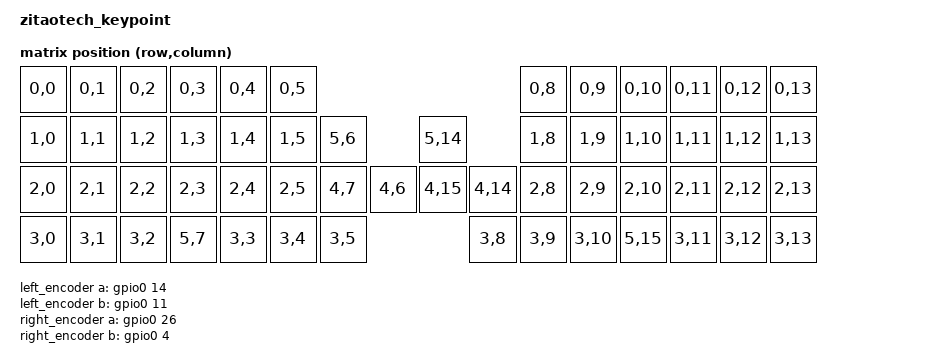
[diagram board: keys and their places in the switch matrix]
/*
 * Copyright (c) 2023 ZitaoTech
 *
 * SPDX-License-Identifier: MIT
 */

/dts-v1/;
#include <nordic/nrf52840_qiaa.dtsi>

#include <dt-bindings/led/led.h>
#include <dt-bindings/zmk/matrix_transform.h>
#include "zitaotech_keypoint-layouts.dtsi"


/ {
    model = "zitaotech_keypoint";
    compatible = "ZitaoTech,zitaotech-keypoint";

    chosen {
        zephyr,code-partition = &code_partition;
        zephyr,sram = &sram0;
        zephyr,flash = &flash0;
        zephyr,console = &cdc_acm_uart;
        zmk,kscan = &kscan0;
        zmk,physical-layouts = &zitaotech_keypoint_layout;
        zmk,studio-rpc-uart = &cdc_acm_uart; // ✅ 
    };
    default_transform: keymap_transform_0 {
        compatible = "zmk,matrix-transform";
        columns = <16>;
        rows = <6>;
        map = <
RC(0,0)  RC(0,1) RC(0,2) RC(0,3) RC(0,4) RC(0,5)                                         RC(0,8)  RC(0,9)  RC(0,10) RC(0,11) RC(0,12) RC(0,13)
RC(1,0)  RC(1,1) RC(1,2) RC(1,3) RC(1,4) RC(1,5)  RC(5,6)             RC(5,14)           RC(1,8)  RC(1,9)  RC(1,10) RC(1,11) RC(1,12) RC(1,13)
RC(2,0)  RC(2,1) RC(2,2) RC(2,3) RC(2,4) RC(2,5)  RC(4,7)  RC(4,6)    RC(4,15) RC(4,14)  RC(2,8)  RC(2,9)  RC(2,10) RC(2,11) RC(2,12) RC(2,13)
RC(3,0)  RC(3,1) RC(3,2) RC(5,7) RC(3,3) RC(3,4)  RC(3,5)                      RC(3,8)   RC(3,9)  RC(3,10) RC(5,15) RC(3,11) RC(3,12) RC(3,13)
        >;
    };

left_encoder: encoder_left {
        compatible = "alps,ec11";
        a-gpios = <&gpio0 14 (GPIO_ACTIVE_HIGH | GPIO_OPEN_DRAIN)>;
        b-gpios = <&gpio0 11 (GPIO_ACTIVE_HIGH | GPIO_OPEN_DRAIN)>;
        resolution = <4>;
        steps = <20>;
        status = "disabled";
     };

right_encoder: encoder_right {
        compatible = "alps,ec11";
        a-gpios = <&gpio0 26 (GPIO_ACTIVE_HIGH | GPIO_OPEN_DRAIN)>;
        b-gpios = <&gpio0 4 (GPIO_ACTIVE_HIGH | GPIO_OPEN_DRAIN)>;
        resolution = <4>;
        steps = <20>;
        status = "disabled";
     };

     sensors: sensors {
        compatible = "zmk,keymap-sensors";
        sensors = <&left_encoder &right_encoder>;
        triggers-per-rotation = <5>;
    }; 

};



&usbd {
    status = "okay";
    cdc_acm_uart: cdc_acm_uart {
        compatible = "zephyr,cdc-acm-uart";
    };
};

&zitaotech_keypoint_layout{
	transform = <&default_transform>;
	kscan = <&kscan0>;
};  

zephyr_udc0: &usbd { 
    compatible = "nordic,nrf-usbd"; 
    status = "okay"; 
};

&flash0 {
    partitions {
        compatible = "fixed-partitions";
        #address-cells = <1>;
        #size-cells = <1>;

        sd_partition: partition@0 {
            reg = <0x00000000 0x00001000>;
        };

        code_partition: partition@1000 {
            reg = <0x00001000 0x000d3000>;
        };

        storage_partition: partition@d4000 {
            reg = <0x000d4000 0x00020000>;
        };

        boot_partition: partition@f4000 {
            reg = <0x000f4000 0x0000c000>;
        };
    };
};

